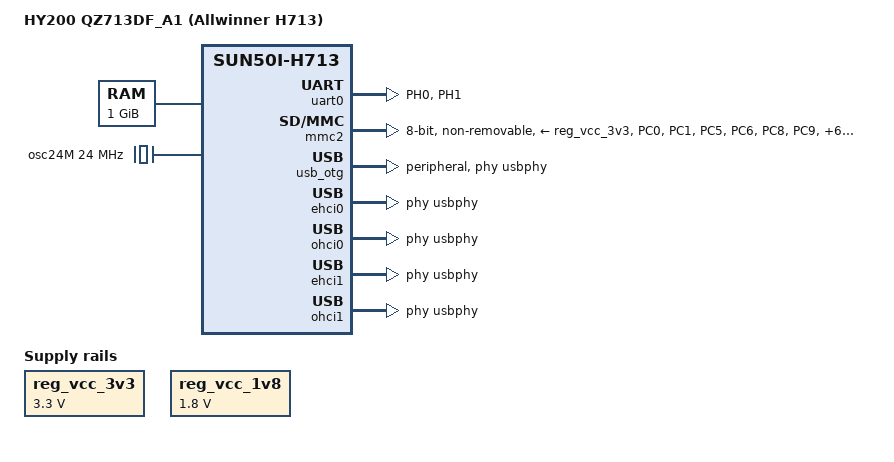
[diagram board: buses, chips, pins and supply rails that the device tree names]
// SPDX-License-Identifier: (GPL-2.0+ OR MIT)
// Derived from local H713 research + live FEL probing (HY200 QZ713DF_A1 bench).

/dts-v1/;

#include <dt-bindings/clock/sun20i-d1-ccu.h>
#include <dt-bindings/reset/sun20i-d1-ccu.h>

/ {
	model = "HY200 QZ713DF_A1 (Allwinner H713)";
	compatible = "allwinner,sun50i-h713";

	#address-cells = <2>;
	#size-cells = <2>;

	aliases {
		serial0 = &uart0;
		mmc0 = &mmc0;
		mmc1 = &mmc2;
	};

	chosen {
		stdout-path = "serial0:115200n8";
	};

	memory@40000000 {
		device_type = "memory";
		reg = <0x0 0x40000000 0x0 0x40000000>;
	};

	osc24M: osc24M-clk {
		compatible = "fixed-clock";
		#clock-cells = <0>;
		clock-frequency = <24000000>;
		clock-output-names = "osc24M";
	};

	reg_vcc_3v3: regulator-3v3 {
		compatible = "regulator-fixed";
		regulator-name = "vcc-3v3";
		regulator-min-microvolt = <3300000>;
		regulator-max-microvolt = <3300000>;
		regulator-always-on;
	};

	reg_vcc_1v8: regulator-1v8 {
		compatible = "regulator-fixed";
		regulator-name = "vcc-1v8";
		regulator-min-microvolt = <1800000>;
		regulator-max-microvolt = <1800000>;
		regulator-always-on;
	};

	cpus {
		#address-cells = <1>;
		#size-cells = <0>;

		cpu@0 {
			compatible = "arm,cortex-a53";
			device_type = "cpu";
			reg = <0>;
			enable-method = "psci";
		};

		cpu@1 {
			compatible = "arm,cortex-a53";
			device_type = "cpu";
			reg = <1>;
			enable-method = "psci";
		};

		cpu@2 {
			compatible = "arm,cortex-a53";
			device_type = "cpu";
			reg = <2>;
			enable-method = "psci";
		};

		cpu@3 {
			compatible = "arm,cortex-a53";
			device_type = "cpu";
			reg = <3>;
			enable-method = "psci";
		};
	};

	psci {
		compatible = "arm,psci-1.0";
		method = "smc";
	};

	timer {
		compatible = "arm,armv8-timer";
		clock-frequency = <24000000>;
	};

	soc {
		compatible = "simple-bus";
		#address-cells = <1>;
		#size-cells = <1>;
		ranges = <0x0 0x0 0x0 0x40000000>;

		ccu: clock-controller@2001000 {
			compatible = "allwinner,sun50i-h713-ccu";
			reg = <0x02001000 0x1000>;
			clocks = <&osc24M>;
			clock-names = "hosc";
			#clock-cells = <1>;
			#reset-cells = <1>;
		};

		/*
		 * R_PIO, the PL/PM banks in the always-on block.  Needed for
		 * PL3, the USB-A socket's VBUS enable: without a driver behind
		 * the bank a gpio_request() on PL just fails and the socket
		 * stays unpowered, which looks like "cannot reset port 1!?".
		 */
		r_pio: pinctrl@7022000 {
			compatible = "allwinner,sun50i-h713-r-pinctrl";
			reg = <0x07022000 0x400>;
			clocks = <&osc24M>;
			clock-names = "hosc";
			gpio-controller;
			#gpio-cells = <3>;
		};

		pio: pinctrl@2000000 {
			compatible = "allwinner,sun50i-h713-pinctrl";
			reg = <0x02000000 0x800>;
			clocks = <&osc24M>;
			clock-names = "hosc";
			vcc-pc-supply = <&reg_vcc_3v3>;
			vcc-pf-supply = <&reg_vcc_3v3>;
			vcc-ph-supply = <&reg_vcc_3v3>;
			gpio-controller;
			#gpio-cells = <3>;

			mmc0_pins: mmc0-pins {
				pins = "PF0", "PF1", "PF2",
				       "PF3", "PF4", "PF5";
				function = "mmc0";
				drive-strength = <30>;
				bias-pull-up;
			};

			mmc2_pins: mmc2-pins {
				pins = "PC0", "PC1", "PC5", "PC6",
				       "PC8", "PC9", "PC10", "PC11",
				       "PC13", "PC14", "PC15", "PC16";
				function = "mmc2";
				drive-strength = <30>;
				bias-pull-up;
			};

			mmc2_ds_pin: mmc2-ds-pin {
				pins = "PC0";
				function = "mmc2";
				drive-strength = <30>;
				bias-pull-down;
			};

			uart0_ph_pins: uart0-ph-pins {
				pins = "PH0", "PH1";
				function = "uart0";
				drive-strength = <10>;
				bias-pull-up;
			};
		};

		sid: efuse@3006000 {
			compatible = "allwinner,sun50i-h6-sid";
			reg = <0x03006000 0x400>;
		};

		uart0: serial@2500000 {
			compatible = "snps,dw-apb-uart";
			reg = <0x02500000 0x400>;
			reg-shift = <2>;
			reg-io-width = <4>;
			clock-frequency = <24000000>;
			pinctrl-names = "default";
			pinctrl-0 = <&uart0_ph_pins>;
			status = "okay";
		};

		mmc0: mmc@4020000 {
			compatible = "allwinner,sun50i-h713-mmc",
				     "allwinner,sun20i-d1-mmc",
				     "allwinner,sun50i-h6-mmc";
			reg = <0x04020000 0x1000>;
			/* H713 CCU = D1 layout; D1 binding indices */
			clocks = <&ccu CLK_BUS_MMC0>, <&ccu CLK_MMC0>;
			clock-names = "ahb", "mmc";
			resets = <&ccu RST_BUS_MMC0>;
			reset-names = "ahb";
			pinctrl-names = "default";
			pinctrl-0 = <&mmc0_pins>;
			vmmc-supply = <&reg_vcc_3v3>;
			bus-width = <4>;
			/* no SD slot on the HY200/HY310 boards */
			status = "disabled";
		};

		mmc2: mmc@4022000 {
			compatible = "allwinner,sun50i-h713-emmc",
				     "allwinner,sun20i-d1-mmc",
				     "allwinner,sun50i-h6-emmc";
			reg = <0x04022000 0x1000>;
			clocks = <&ccu CLK_BUS_MMC2>, <&ccu CLK_MMC2>;
			clock-names = "ahb", "mmc";
			resets = <&ccu RST_BUS_MMC2>;
			reset-names = "ahb";
			pinctrl-names = "default";
			pinctrl-0 = <&mmc2_pins>, <&mmc2_ds_pin>;
			vmmc-supply = <&reg_vcc_3v3>;
			vqmmc-supply = <&reg_vcc_1v8>;
			bus-width = <8>;
			non-removable;
			cap-mmc-hw-reset;
			mmc-ddr-1_8v;
			mmc-hs200-1_8v;
			status = "okay";
		};

		usb_otg: usb@4100000 {
			compatible = "allwinner,sun20i-d1-musb",
				     "allwinner,sun8i-a33-musb";
			reg = <0x04100000 0x400>;
			clocks = <&ccu CLK_BUS_OTG>;
			resets = <&ccu RST_BUS_OTG>;
			extcon = <&usbphy 0>;
			phys = <&usbphy 0>;
			phy-names = "usb";
			dr_mode = "peripheral";
			status = "okay";
		};

		usbphy: phy@4100400 {
			compatible = "allwinner,sun50i-h713-usb-phy";
			reg = <0x04100400 0x100>,
			      <0x04101800 0x100>,
			      <0x04200800 0x100>;
			reg-names = "phy_ctrl",
				    "pmu0",
				    "pmu1";
			clocks = <&osc24M>,
				 <&osc24M>;
			clock-names = "usb0_phy",
				      "usb1_phy";
			resets = <&ccu RST_USB_PHY0>,
				 <&ccu RST_USB_PHY1>;
			reset-names = "usb0_reset",
				      "usb1_reset";
			#phy-cells = <1>;
		};

		ehci0: usb@4101000 {
			compatible = "allwinner,sun50i-h6-ehci", "generic-ehci";
			reg = <0x04101000 0x100>;
			clocks = <&ccu CLK_BUS_EHCI0>;
			resets = <&ccu RST_BUS_EHCI0>;
			phys = <&usbphy 0>;
			phy-names = "usb";
			status = "okay";
		};

		ohci0: usb@4101400 {
			compatible = "allwinner,sun50i-h6-ohci", "generic-ohci";
			reg = <0x04101400 0x100>;
			clocks = <&ccu CLK_BUS_OHCI0>, <&ccu CLK_USB_OHCI0>;
			resets = <&ccu RST_BUS_OHCI0>;
			phys = <&usbphy 0>;
			phy-names = "usb";
			status = "okay";
		};

		/* The case's USB-A socket is on port 1 -- stock Android
		 * enumerates devices under 4200000.ehci1-controller. */
		ehci1: usb@4200000 {
			compatible = "allwinner,sun50i-h6-ehci", "generic-ehci";
			reg = <0x04200000 0x100>;
			clocks = <&ccu CLK_BUS_EHCI1>;
			resets = <&ccu RST_BUS_EHCI1>;
			phys = <&usbphy 1>;
			phy-names = "usb";
			status = "okay";
		};

		ohci1: usb@4200400 {
			compatible = "allwinner,sun50i-h6-ohci", "generic-ohci";
			reg = <0x04200400 0x100>;
			clocks = <&ccu CLK_BUS_OHCI1>, <&ccu CLK_USB_OHCI1>;
			resets = <&ccu RST_BUS_OHCI1>;
			phys = <&usbphy 1>;
			phy-names = "usb";
			status = "okay";
		};

		watchdog: watchdog@2051000 {
			/*
			 * Key-protected sun55i register layout (ctrl 0x0c,
			 * cfg 0x10, mode 0x14, key 0x16aa), hardware-proven;
			 * NOT the H6/sun6i layout.
			 */
			compatible = "allwinner,sun50i-h713-wdt",
				     "allwinner,sun55i-a523-wdt";
			reg = <0x02051000 0x20>;
		};
	};
};
